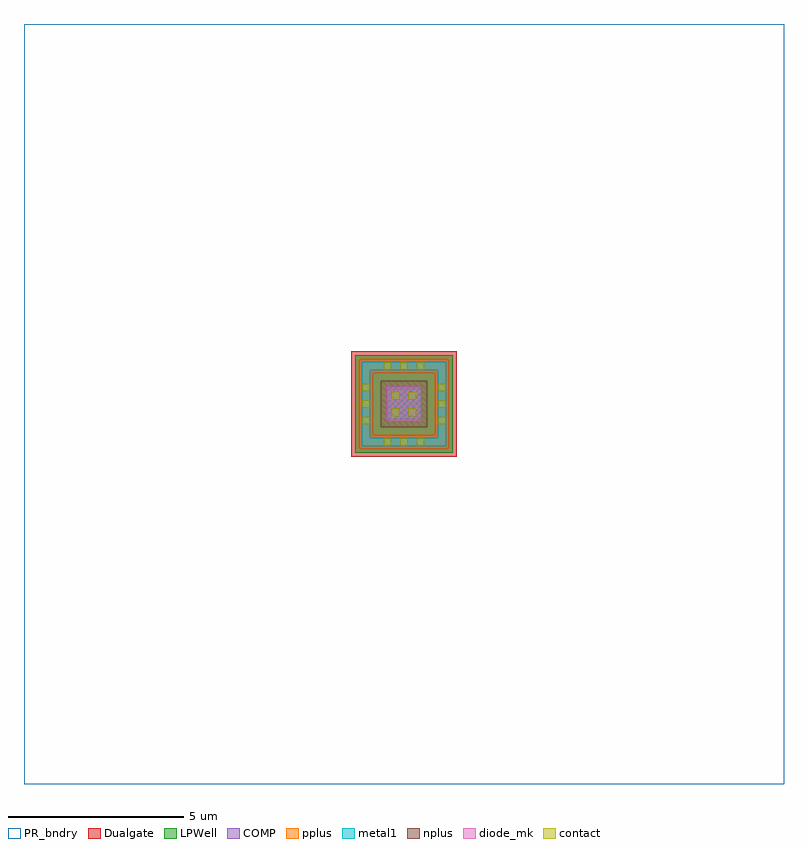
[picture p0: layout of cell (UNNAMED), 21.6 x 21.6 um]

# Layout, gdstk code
import gdstk
lib = gdstk.Library(unit=1e-6, precision=1e-09)
def R(c, l, rs):  # rectangles x0, y0, x1, y1
    for r in rs: c.add(gdstk.rectangle(r[:2], r[2:], *l))
def A(c, l, x, y, w, h, nx, ny, dx, dy):  # array of equal rectangles
    R(c, l, [(x+i*dx, y+j*dy, x+i*dx+w, y+j*dy+h) for i in range(nx) for j in range(ny)])
PR_bndry = (0, 0)
COMP = (22, 0)
pplus = (31, 0)
nplus = (32, 0)
contact = (33, 0)
metal1 = (34, 0)
Dualgate = (55, 0)
diode_mk = (115, 5)
LPWell = (204, 0)

c__unnamed_ = lib.new_cell('(UNNAMED)')
R(c__unnamed_, PR_bndry, [(-10.8,-10.8,10.8,10.8)])
R(c__unnamed_, COMP, [(-1.26,-1.26,1.26,-0.9), (-1.26,-0.9,-0.9,0.9), (0.9,-0.9,1.26,0.9), (-0.5,-0.5,0.5,0.5), (-1.26,0.9,1.26,1.26)])
R(c__unnamed_, pplus, [(-0.775,-1.29,0.775,-1.28), (-1.28,-1.28,1.28,-0.87), (-1.28,-0.87,-0.87,-0.775), (0.87,-0.87,1.28,-0.775), (-1.29,-0.775,-0.87,0.775), (0.87,-0.775,1.29,0.775), (-1.28,0.775,-0.87,0.87), (0.87,0.775,1.28,0.87), (-1.28,0.87,1.28,1.28), (-0.775,1.28,0.775,1.29)])
R(c__unnamed_, nplus, [(-0.66,-0.66,0.66,0.66)])
A(c__unnamed_, contact, -0.58, -1.19, 0.22, 0.22, 3, 2, 0.47, 2.16)
A(c__unnamed_, contact, -1.19, -0.58, 0.22, 0.22, 1, 3, 0, 0.47)
A(c__unnamed_, contact, 0.97, -0.58, 0.22, 0.22, 1, 3, 0, 0.47)
R(c__unnamed_, contact, [(-0.345,-0.345,-0.125,-0.125), (0.125,-0.345,0.345,-0.125), (-0.345,0.125,-0.125,0.345), (0.125,0.125,0.345,0.345)])
R(c__unnamed_, metal1, [(-1.195,-1.195,1.195,-0.965), (-1.195,-0.965,-0.965,0.965), (0.965,-0.965,1.195,0.965), (-0.49,-0.435,0.49,0.435), (-1.195,0.965,1.195,1.195)])
R(c__unnamed_, Dualgate, [(-1.5,-1.5,1.5,1.5)])
R(c__unnamed_, diode_mk, [(-0.5,-0.5,0.5,0.5)])
R(c__unnamed_, LPWell, [(-1.38,-1.38,1.38,1.38)])

lib.write_gds('_UNNAMED_.gds')
